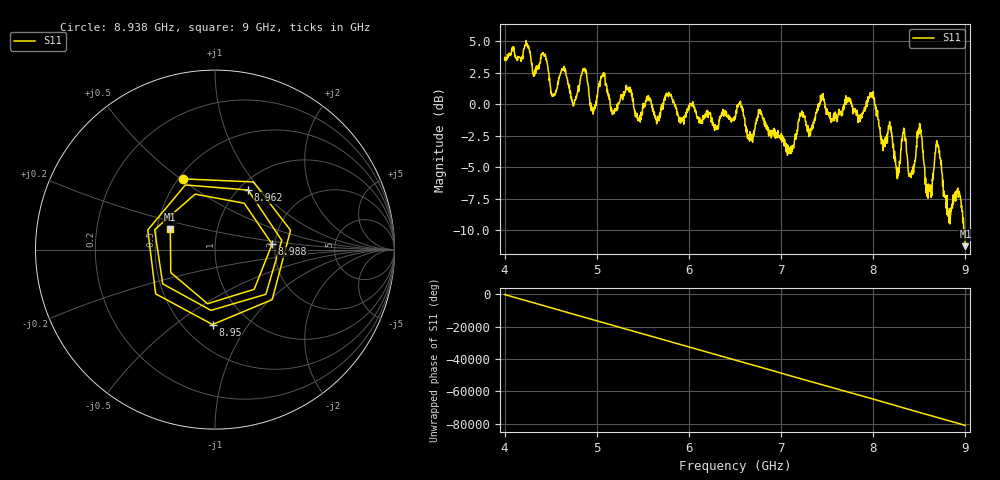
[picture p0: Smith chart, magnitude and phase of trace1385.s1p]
! Created with skrf 1.8.0 (http://scikit-rf.org).
# Hz S RI R 50.0
!freq ReS11 ImS11
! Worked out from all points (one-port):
!   1601 points, 4 GHz to 9 GHz, reference 50 ohm
!   lowest |S11| = -11.2 dB at 9 GHz (marker M1), VSWR 1.76, Z = 29.4 + j7.28 ohm
!   |S11| at or under -10 dB: 8.982547 GHz to 8.987081 GHz (4.534 MHz wide, 0.0505 % of centre); 8.989137 GHz to end of sweep
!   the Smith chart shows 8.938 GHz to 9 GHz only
!   S11 on the Smith chart (normalised r, x): 8.938 GHz: 0.52, +0.51; 8.95 GHz: 0.69, -0.69; 8.962 GHz: 1.10, +0.86; 8.988 GHz: 1.93, +0.13; 9 GHz: 0.59, +0.15
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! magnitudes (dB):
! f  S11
! 4 GHz  3.6
! 4.422 GHz  4.0
! 4.528 GHz  0.6
! 4.625 GHz  2.7
! 4.744 GHz  -0.2
! 4.862 GHz  2.7
! 4.953 GHz  -0.5
! 5.062 GHz  2.3
! 5.25 GHz  0.2
! 5.875 GHz  -0.6
! 6.5 GHz  -1.2
! 7.125 GHz  -3.5
! 7.444 GHz  0.5
! 7.75 GHz  0.3
! 7.988 GHz  0.9
! 8.103 GHz  -3.1
! 8.269 GHz  -5.3
! 8.331 GHz  -1.9
! 8.375 GHz  -4.7
! 8.503 GHz  -1.5
! 8.588 GHz  -6.3
! 8.694 GHz  -3.2
! 8.816 GHz  -8.5
! 8.938 GHz  -7.3
! 8.95 GHz  -7.6
! 8.962 GHz  -8.4
! 8.988 GHz  -9.9
! 9 GHz  -11.2
